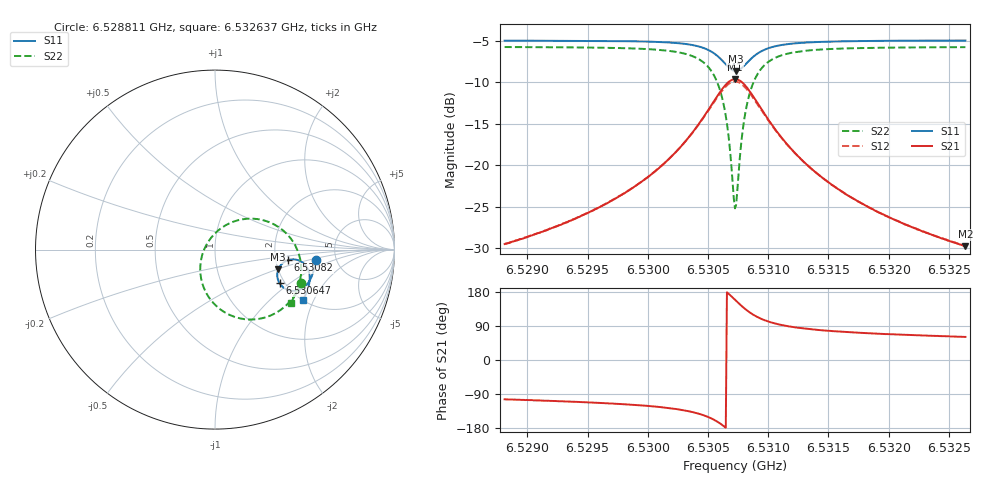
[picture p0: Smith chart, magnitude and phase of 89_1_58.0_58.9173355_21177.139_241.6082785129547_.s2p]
#  HZ  S  RI  R  50.00
! Rohde & Schwarz Vector Network Analyzer
! Rohde-Schwarz,ZNB20-2Port,1311601062101988,3.16
! Created: UTC 3/21/2024, 12:54:13 AM
! freq[Hz]  re:S11  im:S11  re:S21  im:S21  re:S12  im:S12  re:S22  im:S22
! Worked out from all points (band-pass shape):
!   401 points, 6.528811 GHz to 6.532637 GHz, reference 50 ohm
!   highest |S21| = -9.63 dB at 6.530724 GHz (marker M1); lowest = -29.8 dB at 6.532637 GHz (marker M2)
!   |S21| within 3 dB of the highest: 6.530533 GHz to 6.530916 GHz (382.9 kHz wide, 0.00586 % of centre)
!   lowest |S11| = -8.6 dB at 6.530734 GHz (marker M3), VSWR 2.17, Z = 100 - j25.6 ohm
!   |S11| at or under -10 dB: nowhere
!   |S22| runs from -25.2 to -5.8 dB; largest |S21 - S12| = 0.014
!   S11 on the Smith chart (normalised r, x): 6.528811 GHz: 3.48, -0.57; 6.530647 GHz: 1.88, -0.84; 6.53082 GHz: 2.34, -0.33; 6.532637 GHz: 2.02, -1.66
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6.5288105e9  0.5608 -0.0559  -0.00794 -0.0325  -0.00871 -0.0325  0.4812 -0.1856
6.5294515e9  0.5512 -0.1107  -0.018 -0.0465  -0.019 -0.046  0.4488 -0.2477
6.5298247e9  0.5396 -0.1472  -0.0316 -0.0617  -0.0333 -0.0609  0.4126 -0.2946
6.5300926e9  0.5239 -0.1782  -0.0536 -0.0798  -0.056 -0.0784  0.3627 -0.338
6.5303222e9  0.4944 -0.2102  -0.0989 -0.1022  -0.1021 -0.0986  0.2714 -0.3801
6.5304848e9  0.4463 -0.2295  -0.1754 -0.1082  -0.1779 -0.1007  0.1311 -0.3813
6.5305805e9  0.3968 -0.221  -0.2525 -0.0755  -0.2511 -0.0645  0.0039 -0.3107
6.5306475e9  0.36 -0.1878  -0.3058 -0.0067  -0.2982 0.00426  -0.072 -0.1846
6.5306762e9  0.3498 -0.1645  -0.3177 0.037  -0.3074 0.0462  -0.0824 -0.11
6.5307144e9  0.3479 -0.1283  -0.3133 0.1021  -0.301 0.1071  -0.0625 -0.00432
6.530724e9  0.3498 -0.1193  -0.3082 0.118  -0.2957 0.1219  -0.051 0.0207
6.5307336e9  0.3527 -0.1103  -0.3016 0.1336  -0.289 0.1363  -0.0371 0.0446
6.5307431e9  0.3564 -0.1017  -0.2934 0.148  -0.281 0.1498  -0.021 0.067
6.5307814e9  0.3792 -0.0739  -0.2496 0.1952  -0.239 0.1933  0.0595 0.1358
6.5308197e9  0.4078 -0.0584  -0.1975 0.2209  -0.1897 0.2172  0.1503 0.1683
6.5308866e9  0.4541 -0.0564  -0.1164 0.2241  -0.1125 0.2205  0.2866 0.1584
6.5309823e9  0.4954 -0.0781  -0.0462 0.1919  -0.0445 0.1897  0.4001 0.0875
6.5311258e9  0.5202 -0.1149  -0.00342 0.1424  -0.00218 0.1415  0.4633 -0.0131
6.531365e9  0.5277 -0.1592  0.0151 0.0933  0.0162 0.0928  0.4805 -0.1158
6.531652e9  0.5235 -0.1955  0.0185 0.0637  0.0195 0.0636  0.4714 -0.1839
6.532006e9  0.5134 -0.2299  0.0179 0.0451  0.0189 0.0446  0.454 -0.2357
6.5326375e9  0.491 -0.2798  0.0158 0.0284  0.0165 0.0282  0.4214 -0.2961
